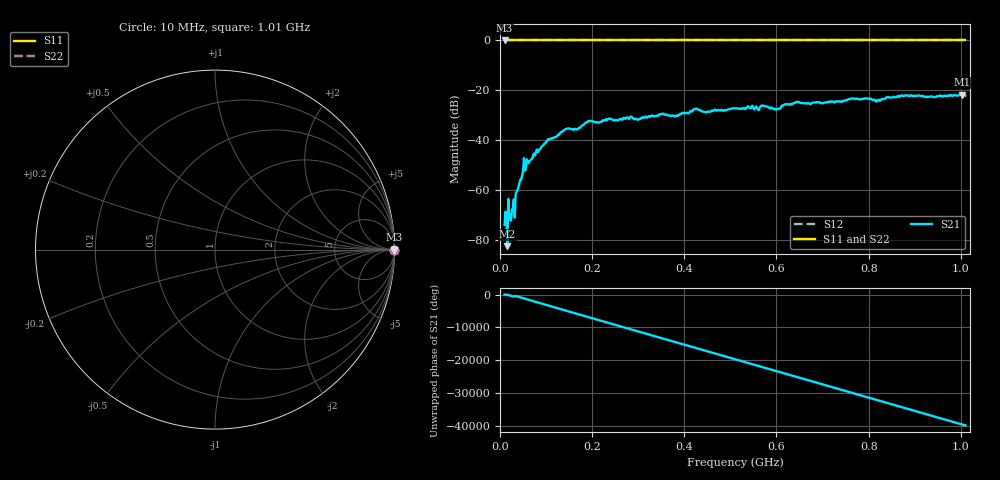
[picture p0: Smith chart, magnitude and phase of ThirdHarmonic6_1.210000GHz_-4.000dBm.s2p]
! 8/16/2025 12:35:57 PM
! C:\ANRITSUVNA\TEMP\TEMP.S2P
! CHANNEL.1
! TR.MEASUREMENT
! RAW.DATA
! RF.CORRECTION.OFF
! AVERAGING.OFF
! IF.BANDWIDTH: 5KHZ
! SWEEPTYPE:  FREQ.SWEEP(Linear)
! Reference Plane Port Info
! PORT:  PORT1  PORT2
! DISTANCE:  0  m  0  m
! TIME:  0  s  0  s
! PHASE.OFFSET:  0  deg.  0  deg.
! LOSS:  0  dB  0  dB
! REF.LOSS:  0  dB  0  dB
! REF.FREQ:  0  Hz  0  Hz
! Power Info
! POWER:  -20  dBm  -20  dBm
! EFF.POWER:  -20  dBm  -20  dBm
! SOURCE.ATTEN:  0  dB  0  dB
! TEST.ATTEN:  0  dB  0  dB
# GHZ S RI R 50.0
! FREQ.GHZ  S11RE  S11IM  S21RE  S21IM  S12RE  S12IM  S22RE  S22IM
!; PortSelection: Port_12
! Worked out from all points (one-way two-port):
!   501 points, 10 MHz to 1.01 GHz, reference 50 ohm
!   highest |S21| = -21.63 dB at 1.002 GHz (marker M1); lowest = -82.3 dB at 16 MHz (marker M2)
!   lowest |S11| = 0.0 dB at 10 MHz (marker M3)
!   |S11| at or under -10 dB: nowhere
!   |S22| runs from 0.0 to 0.0 dB; largest |S21 - S12| = 1.1
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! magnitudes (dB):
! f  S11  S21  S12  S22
! 10 MHz  0.0  -73.8  0.0  0.0
! 12 MHz  0.0  -68.5  0.0  0.0
! 16 MHz  0.0  -82.3  0.0  0.0
! 20 MHz  0.0  -69.9  0.0  0.0
! 22 MHz  0.0  -71.7  0.0  0.0
! 28 MHz  0.0  -67.2  0.0  0.0
! 38 MHz  0.0  -59.9  0.0  0.0
! 56 MHz  0.0  -51.7  0.0  0.0
! 106 MHz  0.0  -39.8  0.0  0.0
! 144 MHz  0.0  -35.4  0.0  0.0
! 178 MHz  0.0  -34.1  0.0  0.0
! 196 MHz  0.0  -32.3  0.0  0.0
! 344 MHz  0.0  -30.1  0.0  0.0
! 424 MHz  0.0  -27.5  0.0  0.0
! 510 MHz  0.0  -27.1  0.0  0.0
! 572 MHz  0.0  -26.2  0.0  0.0
! 602 MHz  0.0  -27.4  0.0  0.0
! 644 MHz  0.0  -24.6  0.0  0.0
! 678 MHz  0.0  -25.0  0.0  0.0
! 844 MHz  0.0  -22.8  0.0  0.0
! 1.002 GHz  0.0  -21.6  0.0  0.0
! 1.01 GHz  0.0  -22.1  0.0  0.0
